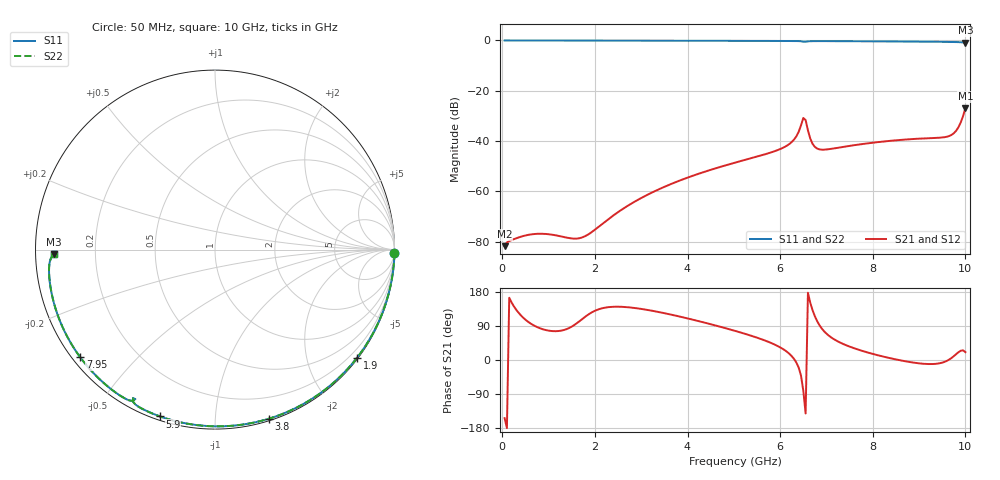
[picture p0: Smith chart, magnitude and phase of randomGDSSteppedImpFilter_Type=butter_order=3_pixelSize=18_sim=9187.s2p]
! freq	dB(S11)	phase(S11)	dB(S12)	phase(S12)
!  dB(S21)	phase(S21)	dB(S22)	phase(S22)
!S-par simulation data
#  GHz  S  DB  R 50
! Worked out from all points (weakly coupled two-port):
!   200 points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, 50 MHz to 10 GHz, reference 50 ohm
!   highest |S21| = -26.95 dB at 10 GHz (marker M1); lowest = -81.8 dB at 50 MHz (marker M2)
!   lowest |S11| = -0.9 dB at 10 GHz (marker M3), VSWR 18.94, Z = 2.64 - j0.75 ohm
!   |S11| at or under -10 dB: nowhere
!   |S22| runs from -0.9 to 0.0 dB; largest |S21 - S12| = 0
!   S11 on the Smith chart (normalised r, x): 50 MHz: open; 1.9 GHz: 0.03, -2.96; 3.8 GHz: 0.02, -1.37; 5.9 GHz: 0.02, -0.72; 7.95 GHz: 0.02, -0.35; 10 GHz: 0.05, -0.02
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0.05  -0.00 -1.0  -81.85 -153.5  -81.85 -153.5  -0.00 -1.0
0.75  -0.02 -14.9  -76.93 87.0  -76.93 87.0  -0.02 -14.9
1.75  -0.04 -34.4  -78.19 110.4  -78.19 110.4  -0.04 -34.4
1.9  -0.05 -37.3  -76.65 123.3  -76.65 123.3  -0.05 -37.3
2.65  -0.07 -51.4  -66.46 139.8  -66.46 139.8  -0.07 -51.4
3.4  -0.09 -65.2  -59.06 126.1  -59.06 126.1  -0.09 -65.2
3.8  -0.10 -72.4  -55.96 115.5  -55.96 115.5  -0.10 -72.4
5.05  -0.14 -94.0  -48.50 76.0  -48.50 76.0  -0.14 -94.0
5.9  -0.19 -108.3  -43.94 39.7  -43.94 39.7  -0.19 -108.3
6.3  -0.22 -115.2  -39.44 2.7  -39.44 2.7  -0.22 -115.2
6.4  -0.26 -117.1  -36.35 -20.1  -36.35 -20.1  -0.26 -117.1
6.5  -0.49 -118.9  -30.84 -80.9  -30.84 -80.9  -0.49 -118.9
6.55  -0.51 -118.0  -31.66 -141.1  -31.66 -141.1  -0.51 -118.0
6.65  -0.30 -119.6  -39.03 151.2  -39.03 151.2  -0.30 -119.6
6.7  -0.28 -120.6  -41.12 131.4  -41.12 131.4  -0.28 -120.6
6.8  -0.26 -122.4  -43.02 102.2  -43.02 102.2  -0.26 -122.4
6.95  -0.27 -125.0  -43.45 75.7  -43.45 75.7  -0.27 -125.0
7.95  -0.35 -141.4  -40.80 17.8  -40.80 17.8  -0.35 -141.4
8.35  -0.39 -148.1  -39.98 5.5  -39.98 5.5  -0.39 -148.1
9.65  -0.58 -170.8  -38.02 1.2  -38.02 1.2  -0.58 -170.8
9.85  -0.66 -174.9  -34.52 20.6  -34.52 20.6  -0.66 -174.9
10  -0.92 -178.3  -26.95 20.8  -26.95 20.8  -0.92 -178.3
